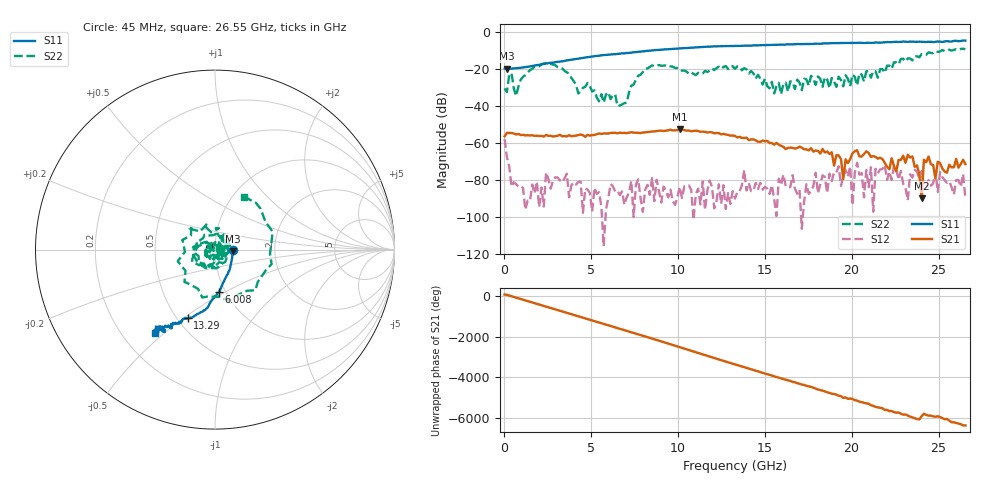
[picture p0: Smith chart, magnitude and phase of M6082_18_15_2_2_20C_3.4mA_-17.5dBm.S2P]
!  2-Port S-parameters saved by WinCal
! VAR MeasName=S-Parameters (CALIBRATED_DATA) read from VNA (C)
! VAR MeasDate=9/29/2015 3:13:44 PM
! VAR NAME=M6082_18_15_2_2_20C_3.4mA_-17.5dBm
! VAR FILENAME=M6082_18_15_2_2_20C_3.4mA_-17.5dBm.S2P
! VAR DATE=9/29/2015 3:13:44 PM
! VAR PHYS_PORTS=2,1
! VAR ObjTypeName=DATASET
! VAR IndexType=Frequency
# Hz S RI R 50
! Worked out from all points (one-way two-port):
!   201 points, 45 MHz to 26.55 GHz, reference 50 ohm
!   highest |S21| = -52.68 dB at 10.12 GHz (marker M1); lowest = -90.0 dB at 24.03 GHz (marker M2)
!   lowest |S11| = -20.0 dB at 177.5 MHz (marker M3), VSWR 1.22, Z = 61 - j1.02 ohm
!   |S11| at or under -10 dB: start of sweep to 8.675 GHz
!   |S22| runs from -40.2 to -9.2 dB; largest |S21 - S12| = 0.0023
!   S11 on the Smith chart (normalised r, x): 45 MHz: 1.22, -0.00; 6.008 GHz: 0.93, -0.47; 13.29 GHz: 0.56, -0.52; 26.55 GHz: 0.34, -0.47
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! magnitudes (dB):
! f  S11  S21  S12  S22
! 45 MHz  -20.0  -56.5  -58.0  -30.7
! 177.5 MHz  -20.0  -54.6  -67.7  -32.6
! 442.5 MHz  -19.9  -54.7  -83.6  -22.4
! 707.5 MHz  -19.8  -55.5  -82.3  -34.7
! 2.562 GHz  -17.0  -56.2  -79.6  -16.8
! 4.55 GHz  -14.2  -55.9  -97.8  -30.3
! 6.008 GHz  -12.5  -55.0  -89.8  -32.8
! 7.067 GHz  -11.6  -54.8  -89.4  -38.4
! 8.922 GHz  -9.9  -53.5  -86.0  -18.0
! 10.12 GHz  -9.1  -52.7  -83.8  -20.0
! 13.29 GHz  -7.7  -56.3  -90.1  -20.1
! 15.95 GHz  -7.0  -61.7  -82.9  -33.8
! 17.8 GHz  -6.6  -64.8  -83.4  -25.2
! 19.26 GHz  -6.2  -66.8  -72.6  -24.3
! 19.52 GHz  -6.1  -79.6  -78.0  -29.5
! 20.32 GHz  -6.1  -64.0  -70.8  -29.1
! 22.17 GHz  -5.7  -74.3  -75.6  -18.4
! 23.23 GHz  -5.5  -66.5  -91.0  -14.4
! 24.03 GHz  -5.5  -90.0  -75.2  -12.1
! 24.43 GHz  -5.5  -67.4  -80.2  -11.2
! 24.82 GHz  -5.5  -79.3  -75.3  -10.5
! 26.55 GHz  -4.8  -71.5  -90.2  -9.5
